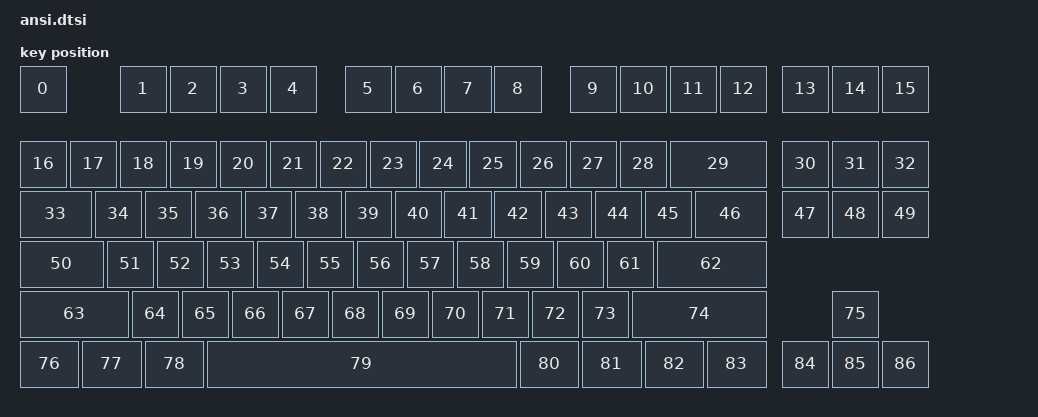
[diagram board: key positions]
#include <layouts/common/tkl/position_map.dtsi>
#include <physical_layouts.dtsi>

/ {
    layout_tkl_ansi: layout_tkl_ansi {
        compatible = "zmk,physical-layout";
        display-name = "TKL 87 Key ANSI";

        keys  //                     w   h    x    y     rot    rx    ry
            = <&key_physical_attrs 100 100    0    0       0     0     0>
            , <&key_physical_attrs 100 100  200    0       0     0     0>
            , <&key_physical_attrs 100 100  300    0       0     0     0>
            , <&key_physical_attrs 100 100  400    0       0     0     0>
            , <&key_physical_attrs 100 100  500    0       0     0     0>
            , <&key_physical_attrs 100 100  650    0       0     0     0>
            , <&key_physical_attrs 100 100  750    0       0     0     0>
            , <&key_physical_attrs 100 100  850    0       0     0     0>
            , <&key_physical_attrs 100 100  950    0       0     0     0>
            , <&key_physical_attrs 100 100 1100    0       0     0     0>
            , <&key_physical_attrs 100 100 1200    0       0     0     0>
            , <&key_physical_attrs 100 100 1300    0       0     0     0>
            , <&key_physical_attrs 100 100 1400    0       0     0     0>
            , <&key_physical_attrs 100 100 1525    0       0     0     0>
            , <&key_physical_attrs 100 100 1625    0       0     0     0>
            , <&key_physical_attrs 100 100 1725    0       0     0     0>
            , <&key_physical_attrs 100 100    0  150       0     0     0>
            , <&key_physical_attrs 100 100  100  150       0     0     0>
            , <&key_physical_attrs 100 100  200  150       0     0     0>
            , <&key_physical_attrs 100 100  300  150       0     0     0>
            , <&key_physical_attrs 100 100  400  150       0     0     0>
            , <&key_physical_attrs 100 100  500  150       0     0     0>
            , <&key_physical_attrs 100 100  600  150       0     0     0>
            , <&key_physical_attrs 100 100  700  150       0     0     0>
            , <&key_physical_attrs 100 100  800  150       0     0     0>
            , <&key_physical_attrs 100 100  900  150       0     0     0>
            , <&key_physical_attrs 100 100 1000  150       0     0     0>
            , <&key_physical_attrs 100 100 1100  150       0     0     0>
            , <&key_physical_attrs 100 100 1200  150       0     0     0>
            , <&key_physical_attrs 200 100 1300  150       0     0     0>
            , <&key_physical_attrs 100 100 1525  150       0     0     0>
            , <&key_physical_attrs 100 100 1625  150       0     0     0>
            , <&key_physical_attrs 100 100 1725  150       0     0     0>
            , <&key_physical_attrs 150 100    0  250       0     0     0>
            , <&key_physical_attrs 100 100  150  250       0     0     0>
            , <&key_physical_attrs 100 100  250  250       0     0     0>
            , <&key_physical_attrs 100 100  350  250       0     0     0>
            , <&key_physical_attrs 100 100  450  250       0     0     0>
            , <&key_physical_attrs 100 100  550  250       0     0     0>
            , <&key_physical_attrs 100 100  650  250       0     0     0>
            , <&key_physical_attrs 100 100  750  250       0     0     0>
            , <&key_physical_attrs 100 100  850  250       0     0     0>
            , <&key_physical_attrs 100 100  950  250       0     0     0>
            , <&key_physical_attrs 100 100 1050  250       0     0     0>
            , <&key_physical_attrs 100 100 1150  250       0     0     0>
            , <&key_physical_attrs 100 100 1250  250       0     0     0>
            , <&key_physical_attrs 150 100 1350  250       0     0     0>
            , <&key_physical_attrs 100 100 1525  250       0     0     0>
            , <&key_physical_attrs 100 100 1625  250       0     0     0>
            , <&key_physical_attrs 100 100 1725  250       0     0     0>
            , <&key_physical_attrs 175 100    0  350       0     0     0>
            , <&key_physical_attrs 100 100  175  350       0     0     0>
            , <&key_physical_attrs 100 100  275  350       0     0     0>
            , <&key_physical_attrs 100 100  375  350       0     0     0>
            , <&key_physical_attrs 100 100  475  350       0     0     0>
            , <&key_physical_attrs 100 100  575  350       0     0     0>
            , <&key_physical_attrs 100 100  675  350       0     0     0>
            , <&key_physical_attrs 100 100  775  350       0     0     0>
            , <&key_physical_attrs 100 100  875  350       0     0     0>
            , <&key_physical_attrs 100 100  975  350       0     0     0>
            , <&key_physical_attrs 100 100 1075  350       0     0     0>
            , <&key_physical_attrs 100 100 1175  350       0     0     0>
            , <&key_physical_attrs 225 100 1275  350       0     0     0>
            , <&key_physical_attrs 225 100    0  450       0     0     0>
            , <&key_physical_attrs 100 100  225  450       0     0     0>
            , <&key_physical_attrs 100 100  325  450       0     0     0>
            , <&key_physical_attrs 100 100  425  450       0     0     0>
            , <&key_physical_attrs 100 100  525  450       0     0     0>
            , <&key_physical_attrs 100 100  625  450       0     0     0>
            , <&key_physical_attrs 100 100  725  450       0     0     0>
            , <&key_physical_attrs 100 100  825  450       0     0     0>
            , <&key_physical_attrs 100 100  925  450       0     0     0>
            , <&key_physical_attrs 100 100 1025  450       0     0     0>
            , <&key_physical_attrs 100 100 1125  450       0     0     0>
            , <&key_physical_attrs 275 100 1225  450       0     0     0>
            , <&key_physical_attrs 100 100 1625  450       0     0     0>
            , <&key_physical_attrs 125 100    0  550       0     0     0>
            , <&key_physical_attrs 125 100  125  550       0     0     0>
            , <&key_physical_attrs 125 100  250  550       0     0     0>
            , <&key_physical_attrs 625 100  375  550       0     0     0>
            , <&key_physical_attrs 125 100 1000  550       0     0     0>
            , <&key_physical_attrs 125 100 1125  550       0     0     0>
            , <&key_physical_attrs 125 100 1250  550       0     0     0>
            , <&key_physical_attrs 125 100 1375  550       0     0     0>
            , <&key_physical_attrs 100 100 1525  550       0     0     0>
            , <&key_physical_attrs 100 100 1625  550       0     0     0>
            , <&key_physical_attrs 100 100 1725  550       0     0     0>
            ;
    };
};
